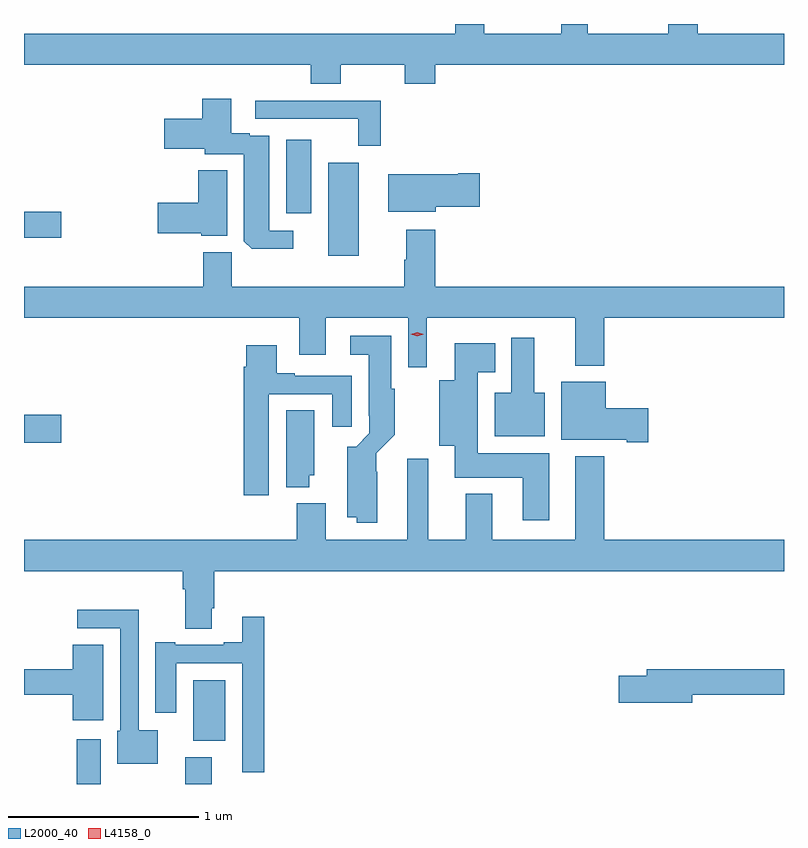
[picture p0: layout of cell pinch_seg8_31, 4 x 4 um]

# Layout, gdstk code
import gdstk
lib = gdstk.Library(unit=1e-6, precision=1e-09)
def R(c, l, rs):  # rectangles x0, y0, x1, y1
    for r in rs: c.add(gdstk.rectangle(r[:2], r[2:], *l))
def P(c, l, *ps):  # polygons
    for p in ps: c.add(gdstk.Polygon(p, *l))
L2000_40 = (2000, 40)
L4158_0 = (4158, 0)

pinch_seg8_31 = lib.new_cell('pinch_seg8_31')
R(pinch_seg8_31, L2000_40, [(933.713,1139.355,933.838,1139.59), (934.283,1139.355,934.423,1139.497), (934.325,1139.582,934.495,1139.902), (933.435,1141.151,933.631,1141.298), (935.036,1142.136,935.197,1142.626), (933.435,1142.231,933.631,1142.366), (934.814,1142.358,934.948,1142.746)])
P(pinch_seg8_31, L2000_40, [(935.103,1143.14),(935.44,1143.14),(935.44,1143.041),(935.6,1143.041),(935.6,1143.14),(937.435,1143.14),(937.435,1143.304),(936.981,1143.304),(936.981,1143.355),(936.826,1143.355),(936.826,1143.304),(936.403,1143.304),(936.403,1143.355),(936.263,1143.355),(936.263,1143.304),(935.857,1143.304),(935.857,1143.355),(935.705,1143.355),(935.705,1143.304),(933.435,1143.304),(933.435,1143.14),(934.943,1143.14),(934.943,1143.041),(935.103,1143.041)],
  [(934.852,1142.268),(934.726,1142.268),(934.726,1142.766),(934.622,1142.766),(934.622,1142.779),(934.525,1142.779),(934.525,1142.962),(934.373,1142.962),(934.373,1142.857),(934.173,1142.857),(934.173,1142.699),(934.385,1142.699),(934.385,1142.67),(934.592,1142.67),(934.592,1142.212),(934.634,1142.171),(934.852,1142.171)],
  [(935.312,1142.952),(934.653,1142.952),(934.653,1142.856),(935.194,1142.856),(935.194,1142.715),(935.312,1142.715)],
  [(934.504,1142.585),(934.352,1142.585),(934.352,1142.413),(934.14,1142.413),(934.14,1142.255),(934.368,1142.255),(934.368,1142.24),(934.504,1142.24)],
  [(935.602,1142.392),(935.833,1142.392),(935.833,1142.57),(935.72,1142.57),(935.72,1142.565),(935.351,1142.565),(935.351,1142.366),(935.602,1142.366)],
  [(935.554,1141.808),(936.335,1141.808),(936.335,1141.556),(936.488,1141.556),(936.488,1141.808),(937.435,1141.808),(937.435,1141.972),(935.6,1141.972),(935.6,1142.272),(935.447,1142.272),(935.447,1142.114),(935.435,1142.114),(935.435,1141.972),(934.529,1141.972),(934.529,1142.154),(934.379,1142.154),(934.379,1141.972),(933.435,1141.972),(933.435,1141.808),(934.883,1141.808),(934.883,1141.614),(935.023,1141.614),(935.023,1141.808),(935.457,1141.808),(935.457,1141.548),(935.554,1141.548)],
  [(935.293,1140.998),(935.289,1140.998),(935.289,1141.097),(935.386,1141.194),(935.386,1141.434),(935.368,1141.434),(935.368,1141.714),(935.151,1141.714),(935.151,1141.613),(935.249,1141.613),(935.249,1141.294),(935.253,1141.294),(935.253,1141.2),(935.183,1141.13),(935.135,1141.13),(935.135,1140.758),(935.187,1140.758),(935.187,1140.731),(935.293,1140.731)],
  [(936.175,1141.414),(936.121,1141.414),(936.121,1141.705),(935.999,1141.705),(935.999,1141.414),(935.912,1141.414),(935.912,1141.184),(936.175,1141.184)],
  [(936.199,1141.096),(935.824,1141.096),(935.824,1141.523),(935.914,1141.523),(935.914,1141.675),(935.702,1141.675),(935.702,1141.48),(935.621,1141.48),(935.621,1141.136),(935.702,1141.136),(935.702,1140.968),(936.059,1140.968),(936.059,1140.744),(936.199,1140.744)],
  [(934.723,1141.407),(935.057,1141.407),(935.057,1141.236),(935.161,1141.236),(935.161,1141.503),(934.861,1141.503),(934.861,1141.516),(934.765,1141.516),(934.765,1141.663),(934.604,1141.663),(934.604,1141.55),(934.592,1141.55),(934.592,1140.876),(934.723,1140.876)],
  [(936.721,1141.332),(936.496,1141.332),(936.496,1141.471),(936.263,1141.471),(936.263,1141.166),(936.608,1141.166),(936.608,1141.154),(936.721,1141.154)],
  [(934.936,1140.981),(934.963,1140.981),(934.963,1141.322),(934.814,1141.322),(934.814,1140.917),(934.936,1140.917)],
  [(934.423,1140.28),(934.436,1140.28),(934.436,1140.476),(937.435,1140.476),(937.435,1140.64),(936.488,1140.64),(936.488,1141.081),(936.335,1141.081),(936.335,1140.64),(935.899,1140.64),(935.899,1140.883),(935.759,1140.883),(935.759,1140.64),(935.563,1140.64),(935.563,1141.066),(935.453,1141.066),(935.453,1140.64),(935.023,1140.64),(935.023,1140.832),(934.871,1140.832),(934.871,1140.64),(933.435,1140.64),(933.435,1140.476),(934.271,1140.476),(934.271,1140.38),(934.283,1140.38),(934.283,1140.172),(934.423,1140.172)],
  [(934.138,1139.638),(934.038,1139.638),(934.038,1140.272),(933.714,1140.272),(933.714,1140.174),(933.942,1140.174),(933.942,1139.634),(933.926,1139.634),(933.926,1139.462),(934.138,1139.462)],
  [(934.7,1140.235),(934.583,1140.235),(934.583,1140.1),(934.487,1140.1),(934.487,1140.087),(934.231,1140.087),(934.231,1140.1),(934.127,1140.1),(934.127,1139.73),(934.237,1139.73),(934.237,1139.991),(934.584,1139.991),(934.584,1139.418),(934.7,1139.418)],
  [(933.853,1140.089),(933.692,1140.089),(933.692,1139.96),(933.435,1139.96),(933.435,1139.824),(933.692,1139.824),(933.692,1139.691),(933.853,1139.691)],
  [(936.952,1139.824),(937.435,1139.824),(937.435,1139.96),(936.713,1139.96),(936.713,1139.924),(936.564,1139.924),(936.564,1139.782),(936.952,1139.782)])
P(pinch_seg8_31, L4158_0, [(935.505,1141.712),(935.47,1141.722),(935.47,1141.722),(935.47,1141.723),(935.505,1141.732),(935.539,1141.723),(935.539,1141.722),(935.539,1141.722)])

lib.write_gds('pinch_seg8_31.gds')
